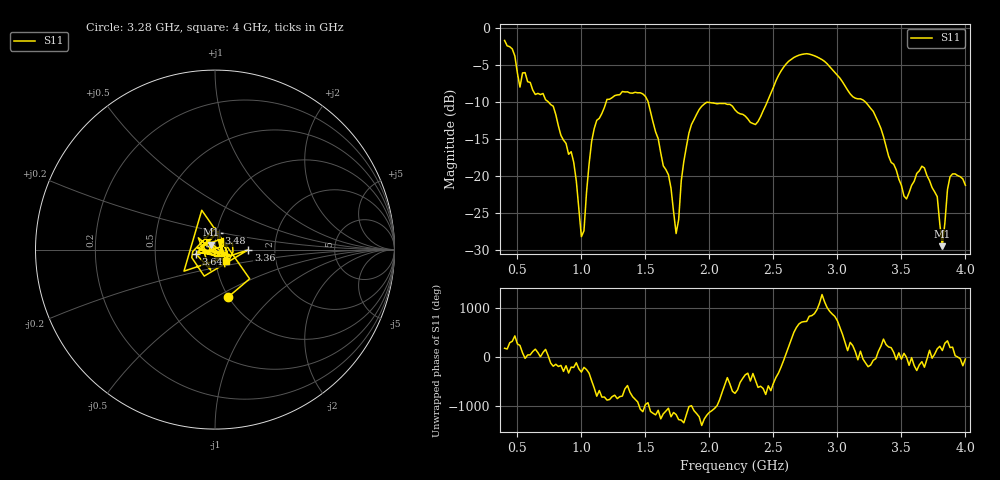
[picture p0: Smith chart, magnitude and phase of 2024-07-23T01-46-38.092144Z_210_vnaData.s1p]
!Created with skrf (http://scikit-rf.org).
# Hz S RI R 50.0
!freq ReS11 ImS11
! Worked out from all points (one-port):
!   181 points, 400 MHz to 4 GHz, reference 50 ohm
!   lowest |S11| = -29.4 dB at 3.82 GHz (marker M1), VSWR 1.07, Z = 48 + j2.62 ohm
!   |S11| at or under -10 dB: 744.1 MHz to 1.193 GHz (448.5 MHz wide, 46.3 % of centre); 1.984 GHz to 2.45 GHz (466.4 MHz wide, 21 % of centre); 3.221 GHz to end of sweep (the widest 3 of 4)
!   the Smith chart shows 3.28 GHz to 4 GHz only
!   S11 on the Smith chart (normalised r, x): 3.28 GHz: 0.99, -0.57; 3.36 GHz: 1.46, -0.00; 3.48 GHz: 1.02, +0.19; 3.64 GHz: 0.81, -0.04; 4 GHz: 1.11, -0.14
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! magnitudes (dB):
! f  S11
! 400 MHz  -1.6
! 520 MHz  -7.9
! 700 MHz  -8.8
! 860 MHz  -15.1
! 940 MHz  -18.1
! 1 GHz  -28.2
! 1.1 GHz  -13.6
! 1.3 GHz  -9.0
! 1.52 GHz  -9.9
! 1.68 GHz  -19.8
! 1.74 GHz  -27.7
! 1.76 GHz  -25.8
! 1.8 GHz  -18.0
! 1.9 GHz  -11.6
! 2.2 GHz  -11.0
! 2.36 GHz  -13.0
! 2.66 GHz  -4.0
! 2.88 GHz  -4.2
! 3.1 GHz  -8.9
! 3.28 GHz  -11.2
! 3.36 GHz  -14.6
! 3.48 GHz  -20.4
! 3.56 GHz  -22.2
! 3.64 GHz  -19.3
! 3.78 GHz  -22.8
! 3.82 GHz  -29.4
! 3.88 GHz  -20.1
! 4 GHz  -21.2
